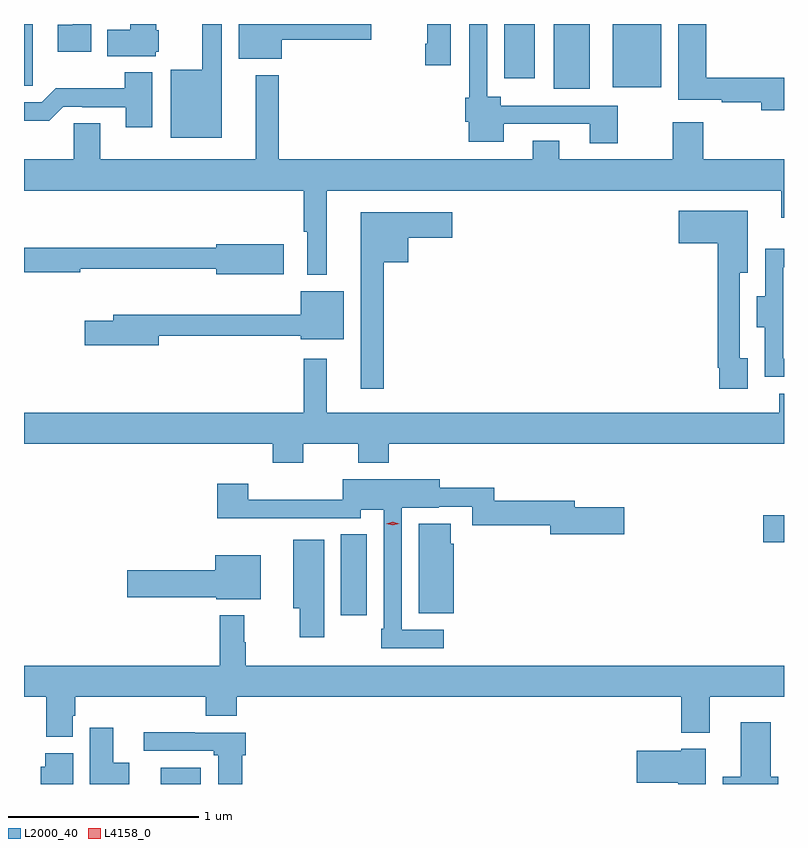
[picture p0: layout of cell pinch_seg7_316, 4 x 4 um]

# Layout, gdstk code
import gdstk
lib = gdstk.Library(unit=1e-6, precision=1e-09)
def R(c, l, rs):  # rectangles x0, y0, x1, y1
    for r in rs: c.add(gdstk.rectangle(r[:2], r[2:], *l))
def P(c, l, *ps):  # polygons
    for p in ps: c.add(gdstk.Polygon(p, *l))
L2000_40 = (2000, 40)
L4158_0 = (4158, 0)

pinch_seg7_316 = lib.new_cell('pinch_seg7_316')
R(pinch_seg7_316, L2000_40, [(399.056,1044.113,399.268,1044.199), (400.004,1045.002,400.141,1045.427), (402.228,1045.385,402.337,1045.527), (401.126,1047.773,401.314,1048.113), (401.435,1047.779,401.692,1048.113), (400.865,1047.828,401.026,1048.113)])
P(pinch_seg7_316, L2000_40, [(402.337,1047.83),(401.927,1047.83),(401.927,1048.113),(401.78,1048.113),(401.78,1047.714),(402.01,1047.714),(402.01,1047.702),(402.218,1047.702),(402.218,1047.659),(402.337,1047.659)],
  [(399.379,1048.113),(399.275,1048.113),(399.275,1047.871),(399.11,1047.871),(399.11,1047.515),(399.379,1047.515)],
  [(398.691,1048.113),(398.594,1048.113),(398.594,1048.108),(398.514,1048.108),(398.514,1047.968),(398.691,1047.968)],
  [(400.582,1048.113),(400.46,1048.113),(400.46,1048.009),(400.448,1048.009),(400.448,1047.897),(400.582,1047.897)],
  [(401.463,1047.684),(400.846,1047.684),(400.846,1047.73),(400.776,1047.73),(400.776,1048.113),(400.68,1048.113),(400.68,1047.726),(400.66,1047.726),(400.66,1047.598),(400.679,1047.598),(400.679,1047.494),(400.861,1047.494),(400.861,1047.588),(401.315,1047.588),(401.315,1047.486),(401.463,1047.486)],
  [(399.694,1048.031),(400.165,1048.031),(400.165,1048.113),(399.467,1048.113),(399.467,1047.929),(399.694,1047.929)],
  [(399.03,1047.966),(399.046,1047.966),(399.046,1048.08),(399.034,1048.08),(399.034,1048.113),(398.897,1048.113),(398.897,1048.082),(398.776,1048.082),(398.776,1047.944),(399.03,1047.944)],
  [(398.382,1047.898),(398.383,1047.898),(398.383,1048.113),(398.337,1048.113),(398.337,1047.787),(398.382,1047.787)],
  [(399.013,1047.859),(398.866,1047.859),(398.866,1047.775),(398.503,1047.775),(398.43,1047.702),(398.337,1047.702),(398.337,1047.605),(398.471,1047.605),(398.544,1047.678),(398.644,1047.678),(398.644,1047.675),(398.873,1047.675),(398.873,1047.57),(399.013,1047.57)],
  [(399.931,1047.236),(402.323,1047.236),(402.323,1047.093),(402.337,1047.093),(402.337,1047.4),(401.912,1047.4),(401.912,1047.595),(401.752,1047.595),(401.752,1047.4),(401.155,1047.4),(401.155,1047.499),(401.015,1047.499),(401.015,1047.4),(399.679,1047.4),(399.679,1047.844),(399.557,1047.844),(399.557,1047.4),(398.737,1047.4),(398.737,1047.59),(398.598,1047.59),(398.598,1047.4),(398.337,1047.4),(398.337,1047.236),(399.81,1047.236),(399.81,1047.02),(399.827,1047.02),(399.827,1046.792),(399.931,1046.792)],
  [(402.145,1046.353),(402.105,1046.353),(402.105,1046.804),(402.145,1046.804),(402.145,1047.13),(401.784,1047.13),(401.784,1046.96),(401.989,1046.96),(401.989,1046.305),(401.997,1046.305),(401.997,1046.193),(402.145,1046.193)],
  [(400.231,1046.858),(400.36,1046.858),(400.36,1046.987),(400.591,1046.987),(400.591,1047.121),(400.109,1047.121),(400.109,1046.193),(400.231,1046.193)],
  [(399.703,1046.953),(399.35,1046.953),(399.35,1046.935),(398.337,1046.935),(398.337,1046.806),(398.634,1046.806),(398.634,1046.824),(399.35,1046.824),(399.35,1046.795),(399.703,1046.795)],
  [(402.337,1046.352),(402.333,1046.352),(402.333,1046.832),(402.337,1046.832),(402.337,1046.929),(402.237,1046.929),(402.237,1046.68),(402.194,1046.68),(402.194,1046.516),(402.236,1046.516),(402.236,1046.256),(402.337,1046.256)],
  [(399.046,1046.472),(399.794,1046.472),(399.794,1046.453),(400.021,1046.453),(400.021,1046.707),(399.794,1046.707),(399.794,1046.582),(399.142,1046.582),(399.142,1046.583),(398.807,1046.583),(398.807,1046.551),(398.658,1046.551),(398.658,1046.422),(399.046,1046.422)],
  [(399.807,1045.904),(400.096,1045.904),(400.096,1045.805),(400.256,1045.805),(400.256,1045.904),(402.337,1045.904),(402.337,1046.166),(402.311,1046.166),(402.311,1046.068),(399.931,1046.068),(399.931,1046.35),(399.81,1046.35),(399.81,1046.068),(398.337,1046.068),(398.337,1045.904),(399.647,1045.904),(399.647,1045.805),(399.807,1045.805)],
  [(400.546,1044.924),(400.326,1044.924),(400.326,1045.568),(400.521,1045.568),(400.521,1045.572),(400.695,1045.572),(400.695,1045.474),(401.108,1045.474),(401.108,1045.427),(401.497,1045.427),(401.497,1045.569),(401.236,1045.569),(401.236,1045.603),(400.811,1045.603),(400.811,1045.671),(400.525,1045.671),(400.525,1045.717),(400.014,1045.717),(400.014,1045.61),(399.518,1045.61),(399.518,1045.693),(399.353,1045.693),(399.353,1045.511),(399.601,1045.511),(399.601,1045.512),(400.11,1045.512),(400.11,1045.556),(400.23,1045.556),(400.23,1044.931),(400.218,1044.931),(400.218,1044.828),(400.546,1044.828)],
  [(400.6,1045.377),(400.582,1045.377),(400.582,1045.483),(400.415,1045.483),(400.415,1045.013),(400.6,1045.013)],
  [(399.916,1045.399),(399.755,1045.399),(399.755,1045.037),(399.787,1045.037),(399.787,1044.885),(399.916,1044.885)],
  [(399.583,1045.318),(399.344,1045.318),(399.344,1045.238),(398.88,1045.238),(398.88,1045.096),(399.348,1045.096),(399.348,1045.085),(399.583,1045.085)],
  [(398.593,1044.471),(398.606,1044.471),(398.606,1044.572),(399.293,1044.572),(399.293,1044.473),(399.458,1044.473),(399.458,1044.572),(401.795,1044.572),(401.795,1044.383),(401.947,1044.383),(401.947,1044.572),(402.337,1044.572),(402.337,1044.736),(399.503,1044.736),(399.503,1044.86),(399.496,1044.86),(399.496,1045),(399.367,1045),(399.367,1044.736),(398.337,1044.736),(398.337,1044.572),(398.453,1044.572),(398.453,1044.361),(398.593,1044.361)],
  [(402.307,1044.151),(402.268,1044.151),(402.268,1044.439),(402.11,1044.439),(402.11,1044.151),(402.014,1044.151),(402.014,1044.113),(402.307,1044.113)],
  [(398.89,1044.226),(398.806,1044.226),(398.806,1044.409),(398.684,1044.409),(398.684,1044.113),(398.89,1044.113)],
  [(399.485,1044.264),(399.503,1044.264),(399.503,1044.384),(399.236,1044.384),(399.236,1044.386),(398.967,1044.386),(398.967,1044.288),(399.336,1044.288),(399.336,1044.264),(399.359,1044.264),(399.359,1044.113),(399.485,1044.113)],
  [(401.926,1044.298),(401.796,1044.298),(401.796,1044.289),(401.562,1044.289),(401.562,1044.119),(401.78,1044.119),(401.78,1044.113),(401.926,1044.113)],
  [(398.596,1044.276),(398.45,1044.276),(398.45,1044.204),(398.426,1044.204),(398.426,1044.113),(398.596,1044.113)])
P(pinch_seg7_316, L4158_0, [(400.278,1045.474),(400.243,1045.483),(400.243,1045.483),(400.243,1045.483),(400.278,1045.493),(400.312,1045.484),(400.313,1045.484),(400.312,1045.484)])

lib.write_gds('pinch_seg7_316.gds')
